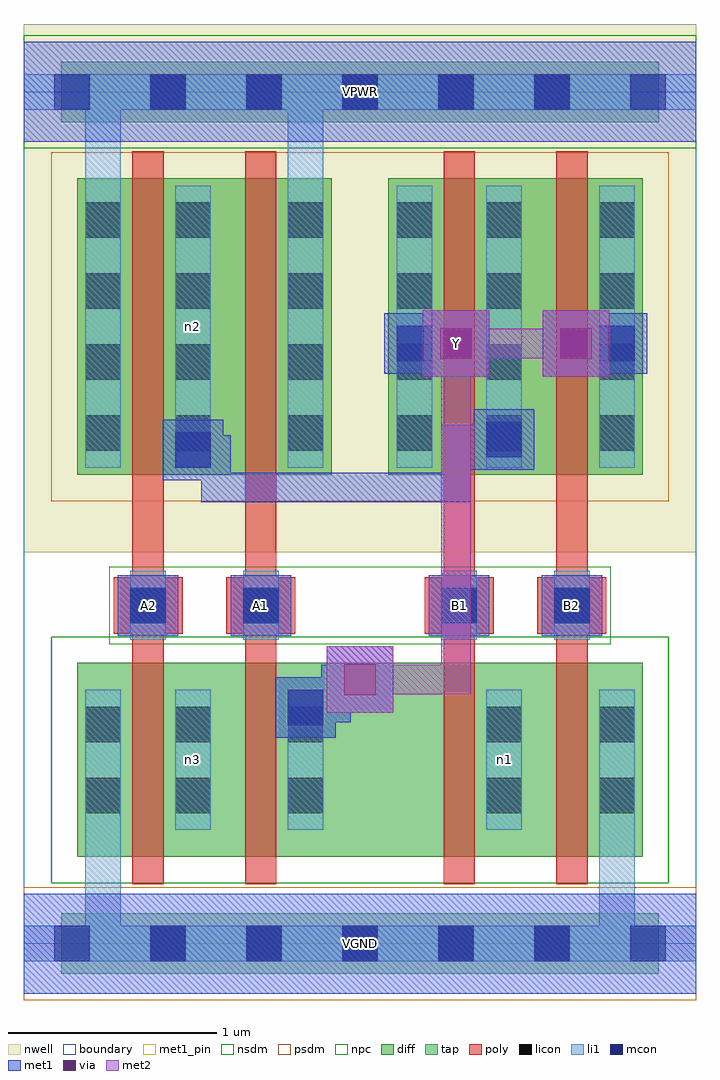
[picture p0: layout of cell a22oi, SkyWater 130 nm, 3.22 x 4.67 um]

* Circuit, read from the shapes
.subckt a22oi A1 A2 B1 B2 VGND VPWR Y n1 n2 n3
XM1 n3 A2 VGND VGND sky130_fd_pr__nfet_01v8 w=0.93 l=0.15
XM2 Y A1 n3 VGND sky130_fd_pr__nfet_01v8 w=0.93 l=0.15
XM3 n1 B1 Y VGND sky130_fd_pr__nfet_01v8 w=0.93 l=0.15
XM4 VGND B2 n1 VGND sky130_fd_pr__nfet_01v8 w=0.93 l=0.15
XM5 n2 A2 VPWR VPWR sky130_fd_pr__pfet_01v8 w=1.42 l=0.15
XM6 VPWR A1 n2 VPWR sky130_fd_pr__pfet_01v8 w=1.42 l=0.15
XM7 n2 B1 Y VPWR sky130_fd_pr__pfet_01v8 w=1.42 l=0.15
XM8 Y B2 n2 VPWR sky130_fd_pr__pfet_01v8 w=1.42 l=0.15
.ends

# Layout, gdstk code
import gdstk
lib = gdstk.Library(unit=1e-6, precision=1e-09)
def R(c, l, rs):  # rectangles x0, y0, x1, y1
    for r in rs: c.add(gdstk.rectangle(r[:2], r[2:], *l))
def A(c, l, x, y, w, h, nx, ny, dx, dy):  # array of equal rectangles
    R(c, l, [(x+i*dx, y+j*dy, x+i*dx+w, y+j*dy+h) for i in range(nx) for j in range(ny)])
nwell = (64, 20)
diff = (65, 20)
tap = (65, 44)
poly = (66, 20)
licon = (66, 44)
li1 = (67, 20)
mcon = (67, 44)
met1_pin = (68, 16)
met1 = (68, 20)
via = (68, 44)
met2 = (69, 20)
nsdm = (93, 44)
psdm = (94, 20)
npc = (95, 20)
boundary = (235, 4)

a22oi = lib.new_cell('a22oi')
R(a22oi, nwell, [(0,1.875,3.22,4.405)])
R(a22oi, diff, [(0.255,0.415,2.965,1.345), (0.255,2.245,1.475,3.665), (1.745,2.245,2.965,3.665)])
R(a22oi, tap, [(0.18,-0.145,3.04,0.145), (0.18,3.935,3.04,4.225)])
R(a22oi, poly, [(0.52,0.285,0.67,3.795), (1.06,0.285,1.21,3.795), (2.01,0.285,2.16,3.795), (2.55,0.285,2.7,3.795), (0.43,1.485,0.76,1.755), (0.97,1.485,1.3,1.755), (1.92,1.485,2.25,1.755), (2.46,1.485,2.79,1.755)])
A(a22oi, licon, 0.605, -0.085, 0.17, 0.17, 5, 2, 0.46, 4.08)
A(a22oi, licon, 0.295, 2.36, 0.17, 0.17, 1, 4, 0, 0.34)
A(a22oi, licon, 0.725, 2.36, 0.17, 0.17, 1, 4, 0, 0.34)
A(a22oi, licon, 1.265, 2.36, 0.17, 0.17, 1, 4, 0, 0.34)
A(a22oi, licon, 1.785, 2.36, 0.17, 0.17, 1, 4, 0, 0.34)
A(a22oi, licon, 2.215, 2.36, 0.17, 0.17, 1, 4, 0, 0.34)
A(a22oi, licon, 2.755, 2.36, 0.17, 0.17, 1, 4, 0, 0.34)
R(a22oi, licon, [(0.295,0.625,0.465,0.795), (0.725,0.625,0.895,0.795), (1.265,0.625,1.435,0.795), (2.215,0.625,2.385,0.795), (2.755,0.625,2.925,0.795), (0.295,0.965,0.465,1.135), (0.725,0.965,0.895,1.135), (1.265,0.965,1.435,1.135), (2.215,0.965,2.385,1.135), (2.755,0.965,2.925,1.135), (0.51,1.535,0.68,1.705), (1.05,1.535,1.22,1.705), (2,1.535,2.17,1.705), (2.54,1.535,2.71,1.705)])
R(a22oi, li1, [(0,-0.085,3.22,0.085), (0.295,-0.085,0.465,1.215), (2.755,-0.085,2.925,1.215), (0.295,0.545,0.465,1.215), (0.725,0.545,0.895,1.215), (1.265,0.545,1.435,1.215), (2.215,0.545,2.385,1.215), (2.755,0.545,2.925,1.215), (0.51,1.455,0.68,1.785), (1.05,1.455,1.22,1.785), (2,1.455,2.17,1.785), (2.54,1.455,2.71,1.785), (0.295,2.28,0.465,3.63), (0.295,2.28,0.465,4.165), (0.725,2.28,0.895,3.63), (1.265,2.28,1.435,3.63), (1.265,2.28,1.435,4.165), (1.785,2.28,1.955,3.63), (2.215,2.28,2.385,3.63), (2.755,2.28,2.925,3.63), (0,3.995,3.22,4.165)])
A(a22oi, mcon, 0.145, -0.085, 0.17, 0.17, 7, 2, 0.46, 4.08)
R(a22oi, mcon, [(1.265,1.045,1.435,1.215), (0.51,1.535,0.68,1.705), (1.05,1.535,1.22,1.705), (2,1.535,2.17,1.705), (2.54,1.535,2.71,1.705), (0.725,2.28,0.895,2.45), (2.215,2.33,2.385,2.5), (1.785,2.79,1.955,2.96), (2.755,2.79,2.925,2.96)])
R(a22oi, met1_pin, [(0,-0.24,3.22,0.24), (0.45,1.475,0.74,1.765), (0.99,1.475,1.28,1.765), (1.94,1.475,2.23,1.765), (2.48,1.475,2.77,1.765), (1.91,2.715,2.23,3.035), (0,3.84,3.22,4.32)])
R(a22oi, met1, [(0,-0.24,3.22,0.24), (1.205,0.985,1.495,1.275), (1.28,1.06,1.565,1.2), (1.425,1.06,1.565,1.335), (1.45,1.105,1.77,1.425), (1.425,1.195,1.68,1.335), (0.45,1.475,0.74,1.765), (0.99,1.475,1.28,1.765), (1.94,1.475,2.23,1.765), (2.48,1.475,2.77,1.765), (0.85,2.115,0.99,2.435), (0.85,2.115,2.14,2.255), (2,2.115,2.14,2.485), (0.665,2.22,0.955,2.51), (2.14,2.27,2.155,2.485), (2.155,2.27,2.445,2.56), (0.74,2.295,0.99,2.435), (2,2.345,2.37,2.485), (1.91,2.715,2.23,3.035), (2.485,2.715,2.805,3.035), (1.725,2.73,2.015,3.02), (2.695,2.73,2.985,3.02), (1.8,2.805,2.14,2.945), (2.575,2.805,2.91,2.945), (0,3.84,3.22,4.32)])
R(a22oi, via, [(1.535,1.19,1.685,1.34), (1.995,2.8,2.145,2.95), (2.57,2.8,2.72,2.95)])
R(a22oi, met2, [(1.45,1.105,1.77,1.425), (1.54,1.195,2.14,1.335), (2,1.195,2.14,2.945), (1.91,2.715,2.23,3.035), (2.485,2.715,2.805,3.035), (2,2.805,2.715,2.945)])
R(a22oi, nsdm, [(0.13,0.29,3.09,1.47), (0,3.81,3.22,4.35)])
R(a22oi, psdm, [(0,-0.27,3.22,0.27), (0.13,2.12,3.09,3.79)])
R(a22oi, npc, [(0.41,1.435,2.81,1.805)])
R(a22oi, boundary, [(0,0,3.22,4.08)])
a22oi.add(gdstk.Label('n3', (0.81,0.88), layer=67, texttype=5))
a22oi.add(gdstk.Label('n1', (2.3,0.88), layer=67, texttype=5))
a22oi.add(gdstk.Label('n2', (0.81,2.955), layer=67, texttype=5))
a22oi.add(gdstk.Label('A1', (1.135,1.62), layer=68, texttype=5))
a22oi.add(gdstk.Label('A2', (0.595,1.62), layer=68, texttype=5))
a22oi.add(gdstk.Label('B1', (2.085,1.62), layer=68, texttype=5))
a22oi.add(gdstk.Label('B2', (2.625,1.62), layer=68, texttype=5))
a22oi.add(gdstk.Label('Y', (2.07,2.875), layer=68, texttype=5))
a22oi.add(gdstk.Label('VPWR', (1.61,4.08), layer=68, texttype=5))
a22oi.add(gdstk.Label('VGND', (1.61,0), layer=68, texttype=5))
a22oi.add(gdstk.Label('A1', (1.135,1.62), layer=68, texttype=16))
a22oi.add(gdstk.Label('A2', (0.595,1.62), layer=68, texttype=16))
a22oi.add(gdstk.Label('B1', (2.085,1.62), layer=68, texttype=16))
a22oi.add(gdstk.Label('B2', (2.625,1.62), layer=68, texttype=16))
a22oi.add(gdstk.Label('Y', (2.07,2.875), layer=68, texttype=16))
a22oi.add(gdstk.Label('VPWR', (1.61,4.08), layer=68, texttype=16))
a22oi.add(gdstk.Label('VGND', (1.61,0), layer=68, texttype=16))

lib.write_gds('a22oi.gds')
